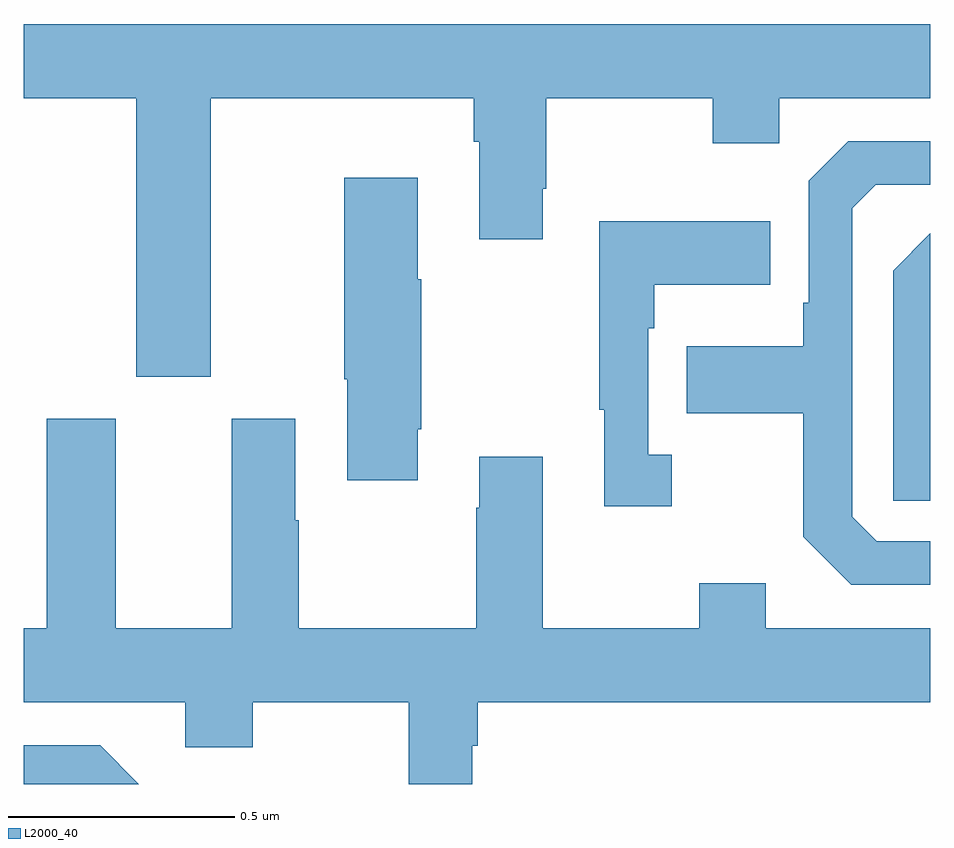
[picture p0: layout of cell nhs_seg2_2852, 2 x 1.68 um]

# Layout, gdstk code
import gdstk
lib = gdstk.Library(unit=1e-6, precision=1e-09)
def P(c, l, *ps):  # polygons
    for p in ps: c.add(gdstk.Polygon(p, *l))
L2000_40 = (2000, 40)

nhs_seg2_2852 = lib.new_cell('nhs_seg2_2852')
P(nhs_seg2_2852, L2000_40, [(146.413,638.312),(146.993,638.312),(146.993,638.216),(147.005,638.216),(147.005,638.001),(147.145,638.001),(147.145,638.113),(147.153,638.113),(147.153,638.312),(147.52,638.312),(147.52,638.213),(147.666,638.213),(147.666,638.312),(148,638.312),(148,638.476),(146,638.476),(146,638.312),(146.249,638.312),(146.249,637.698),(146.413,637.698)],
  [(148,637.335),(147.882,637.335),(147.828,637.389),(147.828,638.07),(147.879,638.121),(148,638.121),(148,638.217),(147.819,638.217),(147.732,638.13),(147.732,637.861),(147.72,637.861),(147.72,637.765),(147.463,637.765),(147.463,637.618),(147.72,637.618),(147.72,637.345),(147.825,637.239),(148,637.239)],
  [(146.869,637.582),(146.877,637.582),(146.877,637.913),(146.869,637.913),(146.869,638.137),(146.707,638.137),(146.707,637.693),(146.714,637.693),(146.714,637.47),(146.869,637.47)],
  [(147.43,637.526),(147.378,637.526),(147.378,637.805),(147.391,637.805),(147.391,637.901),(147.647,637.901),(147.647,638.041),(147.27,638.041),(147.27,637.625),(147.281,637.625),(147.281,637.413),(147.43,637.413)],
  [(148,638.014),(147.918,637.932),(147.918,637.425),(148,637.425)],
  [(146.989,636.884),(147.002,636.884),(147.002,636.98),(148,636.98),(148,637.144),(147.637,637.144),(147.637,637.243),(147.49,637.243),(147.49,637.144),(147.145,637.144),(147.145,637.522),(147.005,637.522),(147.005,637.409),(146.998,637.409),(146.998,637.144),(146.607,637.144),(146.607,637.382),(146.599,637.382),(146.599,637.606),(146.459,637.606),(146.459,637.144),(146.203,637.144),(146.203,637.606),(146.051,637.606),(146.051,637.144),(146,637.144),(146,636.98),(146.357,636.98),(146.357,636.881),(146.505,636.881),(146.505,636.98),(146.849,636.98),(146.849,636.8),(146.989,636.8)],
  [(146.169,636.885),(146,636.885),(146,636.8),(146.254,636.8)])

lib.write_gds('nhs_seg2_2852.gds')
